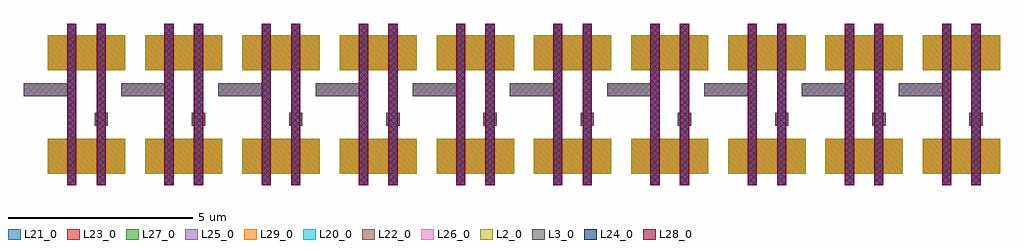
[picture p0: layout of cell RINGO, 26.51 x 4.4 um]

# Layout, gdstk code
import gdstk
lib = gdstk.Library(unit=1e-6, precision=1e-09)
def R(c, l, rs):  # rectangles x0, y0, x1, y1
    for r in rs: c.add(gdstk.rectangle(r[:2], r[2:], *l))
def P(c, l, *ps):  # polygons
    for p in ps: c.add(gdstk.Polygon(p, *l))
L2_0 = (2, 0)
L3_0 = (3, 0)
L10_0 = (10, 0)
L11_0 = (11, 0)
L12_0 = (12, 0)
L13_0 = (13, 0)
L14_0 = (14, 0)
L15_0 = (15, 0)
L16_0 = (16, 0)
L17_0 = (17, 0)
L18_0 = (18, 0)
L19_0 = (19, 0)
L20_0 = (20, 0)
L21_0 = (21, 0)
L22_0 = (22, 0)
L23_0 = (23, 0)
L24_0 = (24, 0)
L25_0 = (25, 0)
L26_0 = (26, 0)
L27_0 = (27, 0)
L28_0 = (28, 0)
L29_0 = (29, 0)

trans = lib.new_cell('TRANS')
R(trans, L2_0, [(-0.65,-0.475,0.65,0.475)])
R(trans, L3_0, [(-0.125,-0.8,0.125,0.8)])
R(trans, L20_0, [(-0.125,-0.8,0.125,0.8)])
R(trans, L21_0, [(-0.65,-0.475,0.65,0.475)])
R(trans, L22_0, [(-0.125,-0.8,0.125,0.8)])
R(trans, L23_0, [(-0.65,-0.475,0.65,0.475)])
R(trans, L24_0, [(-0.125,-0.8,0.125,0.8)])
R(trans, L25_0, [(-0.65,-0.475,0.65,0.475)])
R(trans, L26_0, [(-0.125,-0.8,0.125,0.8)])
R(trans, L27_0, [(-0.65,-0.475,0.65,0.475)])
R(trans, L28_0, [(-0.125,-0.8,0.125,0.8)])
R(trans, L29_0, [(-0.65,-0.475,0.65,0.475)])
trans.add(gdstk.FlexPath([(0.125,0.8),(0.125,-0.8)], 0, ends="flush", simple_path=True, layer=14, datatype=0))  # L14_0
trans.add(gdstk.FlexPath([(-0.125,-0.8),(-0.125,0.8)], 0, ends="flush", simple_path=True, layer=14, datatype=0))  # L14_0
trans.add(gdstk.FlexPath([(-0.65,0.475),(0.65,0.475)], 0, ends="flush", simple_path=True, layer=15, datatype=0))  # L15_0
trans.add(gdstk.FlexPath([(0.65,-0.475),(-0.65,-0.475)], 0, ends="flush", simple_path=True, layer=15, datatype=0))  # L15_0
trans.add(gdstk.FlexPath([(0.125,0.8),(0.125,-0.8)], 0, ends="flush", simple_path=True, layer=18, datatype=0))  # L18_0
trans.add(gdstk.FlexPath([(-0.125,-0.8),(-0.125,0.8)], 0, ends="flush", simple_path=True, layer=18, datatype=0))  # L18_0
trans.add(gdstk.FlexPath([(-0.65,0.475),(0.65,0.475)], 0, ends="flush", simple_path=True, layer=19, datatype=0))  # L19_0
trans.add(gdstk.FlexPath([(0.65,-0.475),(-0.65,-0.475)], 0, ends="flush", simple_path=True, layer=19, datatype=0))  # L19_0

inv2 = lib.new_cell('INV2')
R(inv2, L3_0, [(-0.525,-0.25,-0.275,2.25), (0.275,-0.25,0.525,2.25), (0.22,0.82,0.58,1.18), (-1.7,1.62,-0.4,1.98)])
P(inv2, L20_0, [(0.275,-0.8),(0.275,0.82),(0.22,0.82),(0.22,1.18),(0.275,1.18),(0.275,2),(0.525,2),(0.525,1.18),(0.58,1.18),(0.58,0.82),(0.525,0.82),(0.525,-0.8)],
  [(0.275,0.8),(0.275,0.82),(0.22,0.82),(0.22,1.18),(0.275,1.18),(0.275,3.6),(0.525,3.6),(0.525,1.18),(0.58,1.18),(0.58,0.82),(0.525,0.82),(0.525,0.8)],
  [(-0.525,0.8),(-0.525,1.62),(-1.7,1.62),(-1.7,1.98),(-0.525,1.98),(-0.525,3.6),(-0.275,3.6),(-0.275,0.8)],
  [(-0.525,-0.8),(-0.525,1.62),(-1.7,1.62),(-1.7,1.98),(-0.525,1.98),(-0.525,2),(-0.275,2),(-0.275,-0.8)])
R(inv2, L21_0, [(-1.05,-0.475,1.05,0.475), (-1.05,-0.475,-0.25,0.475), (0.25,-0.475,1.05,0.475), (-1.05,2.325,-0.25,3.275), (0.25,2.325,1.05,3.275)])
P(inv2, L22_0, [(-0.525,0.8),(-0.525,1.62),(-1.7,1.62),(-1.7,1.98),(-0.525,1.98),(-0.525,3.6),(-0.275,3.6),(-0.275,0.8)],
  [(-0.525,-0.8),(-0.525,1.62),(-1.7,1.62),(-1.7,1.98),(-0.525,1.98),(-0.525,2),(-0.275,2),(-0.275,-0.8)],
  [(0.275,-0.8),(0.275,0.82),(0.22,0.82),(0.22,1.18),(0.275,1.18),(0.275,2),(0.525,2),(0.525,1.18),(0.58,1.18),(0.58,0.82),(0.525,0.82),(0.525,-0.8)],
  [(0.275,0.8),(0.275,0.82),(0.22,0.82),(0.22,1.18),(0.275,1.18),(0.275,3.6),(0.525,3.6),(0.525,1.18),(0.58,1.18),(0.58,0.82),(0.525,0.82),(0.525,0.8)])
R(inv2, L23_0, [(-1.05,-0.475,1.05,0.475), (-1.05,-0.475,-0.25,0.475), (0.25,-0.475,1.05,0.475), (-1.05,2.325,-0.25,3.275), (0.25,2.325,1.05,3.275)])
R(inv2, L24_0, [(-0.525,0.8,-0.275,2.25), (0.275,0.8,0.525,2.25)])
R(inv2, L25_0, [(-1.05,-0.475,0.25,0.475), (-0.25,-0.475,1.05,0.475)])
P(inv2, L26_0, [(0.275,-0.8),(0.275,0.82),(0.22,0.82),(0.22,1.18),(0.275,1.18),(0.275,2),(0.525,2),(0.525,1.18),(0.58,1.18),(0.58,0.82),(0.525,0.82),(0.525,-0.8)],
  [(0.275,0.8),(0.275,0.82),(0.22,0.82),(0.22,1.18),(0.275,1.18),(0.275,3.6),(0.525,3.6),(0.525,1.18),(0.58,1.18),(0.58,0.82),(0.525,0.82),(0.525,0.8)],
  [(-0.525,0.8),(-0.525,1.62),(-1.7,1.62),(-1.7,1.98),(-0.525,1.98),(-0.525,3.6),(-0.275,3.6),(-0.275,0.8)],
  [(-0.525,-0.8),(-0.525,1.62),(-1.7,1.62),(-1.7,1.98),(-0.525,1.98),(-0.525,2),(-0.275,2),(-0.275,-0.8)])
R(inv2, L27_0, [(-1.05,-0.475,1.05,0.475), (-1.05,-0.475,-0.25,0.475), (0.25,-0.475,1.05,0.475), (-1.05,2.325,-0.25,3.275), (0.25,2.325,1.05,3.275)])
R(inv2, L28_0, [(-0.525,0.8,-0.275,2.25), (0.275,0.8,0.525,2.25)])
R(inv2, L29_0, [(-1.05,-0.475,0.25,0.475), (-0.25,-0.475,1.05,0.475)])
inv2.add(gdstk.FlexPath([(-0.525,-0.8),(-0.525,1.62)], 0, ends="flush", simple_path=True, layer=10, datatype=0))  # L10_0
inv2.add(gdstk.FlexPath([(0.525,3.6),(0.525,1.18)], 0, ends="flush", simple_path=True, layer=10, datatype=0))  # L10_0
inv2.add(gdstk.FlexPath([(0.275,-0.8),(0.275,0.82)], 0, ends="flush", simple_path=True, layer=10, datatype=0))  # L10_0
inv2.add(gdstk.FlexPath([(-0.525,1.98),(-0.525,3.6)], 0, ends="flush", simple_path=True, layer=10, datatype=0))  # L10_0
inv2.add(gdstk.FlexPath([(0.525,0.82),(0.525,-0.8)], 0, ends="flush", simple_path=True, layer=10, datatype=0))  # L10_0
inv2.add(gdstk.FlexPath([(0.275,1.18),(0.275,3.6)], 0, ends="flush", simple_path=True, layer=10, datatype=0))  # L10_0
inv2.add(gdstk.FlexPath([(-0.275,3.6),(-0.275,-0.8)], 0, ends="flush", simple_path=True, layer=10, datatype=0))  # L10_0
inv2.add(gdstk.FlexPath([(1.05,-0.475),(-1.05,-0.475)], 0, ends="flush", simple_path=True, layer=11, datatype=0))  # L11_0
inv2.add(gdstk.FlexPath([(-1.05,0.475),(1.05,0.475)], 0, ends="flush", simple_path=True, layer=11, datatype=0))  # L11_0
inv2.add(gdstk.FlexPath([(1.05,2.325),(-1.05,2.325)], 0, ends="flush", simple_path=True, layer=11, datatype=0))  # L11_0
inv2.add(gdstk.FlexPath([(-1.05,3.275),(1.05,3.275)], 0, ends="flush", simple_path=True, layer=11, datatype=0))  # L11_0
inv2.add(gdstk.FlexPath([(-0.525,-0.8),(-0.525,1.62)], 0, ends="flush", simple_path=True, layer=12, datatype=0))  # L12_0
inv2.add(gdstk.FlexPath([(0.525,3.6),(0.525,1.18)], 0, ends="flush", simple_path=True, layer=12, datatype=0))  # L12_0
inv2.add(gdstk.FlexPath([(0.275,-0.8),(0.275,0.82)], 0, ends="flush", simple_path=True, layer=12, datatype=0))  # L12_0
inv2.add(gdstk.FlexPath([(-0.525,1.98),(-0.525,3.6)], 0, ends="flush", simple_path=True, layer=12, datatype=0))  # L12_0
inv2.add(gdstk.FlexPath([(0.525,0.82),(0.525,-0.8)], 0, ends="flush", simple_path=True, layer=12, datatype=0))  # L12_0
inv2.add(gdstk.FlexPath([(0.275,1.18),(0.275,3.6)], 0, ends="flush", simple_path=True, layer=12, datatype=0))  # L12_0
inv2.add(gdstk.FlexPath([(-0.275,3.6),(-0.275,-0.8)], 0, ends="flush", simple_path=True, layer=12, datatype=0))  # L12_0
inv2.add(gdstk.FlexPath([(1.05,-0.475),(-1.05,-0.475)], 0, ends="flush", simple_path=True, layer=13, datatype=0))  # L13_0
inv2.add(gdstk.FlexPath([(-1.05,0.475),(1.05,0.475)], 0, ends="flush", simple_path=True, layer=13, datatype=0))  # L13_0
inv2.add(gdstk.FlexPath([(1.05,2.325),(-1.05,2.325)], 0, ends="flush", simple_path=True, layer=13, datatype=0))  # L13_0
inv2.add(gdstk.FlexPath([(-1.05,3.275),(1.05,3.275)], 0, ends="flush", simple_path=True, layer=13, datatype=0))  # L13_0
inv2.add(gdstk.FlexPath([(-0.275,2.25),(-0.275,-0.25)], 0, ends="flush", simple_path=True, layer=14, datatype=0))  # L14_0
inv2.add(gdstk.FlexPath([(-0.525,-0.25),(-0.525,2.25)], 0, ends="flush", simple_path=True, layer=14, datatype=0))  # L14_0
inv2.add(gdstk.FlexPath([(0.525,2.25),(0.525,-0.25)], 0, ends="flush", simple_path=True, layer=14, datatype=0))  # L14_0
inv2.add(gdstk.FlexPath([(0.275,-0.25),(0.275,2.25)], 0, ends="flush", simple_path=True, layer=14, datatype=0))  # L14_0
inv2.add(gdstk.FlexPath([(-0.25,0.475),(1.05,0.475)], 0, ends="flush", simple_path=True, layer=15, datatype=0))  # L15_0
inv2.add(gdstk.FlexPath([(-1.05,0.475),(0.25,0.475)], 0, ends="flush", simple_path=True, layer=15, datatype=0))  # L15_0
inv2.add(gdstk.FlexPath([(-0.525,-0.8),(-0.525,1.62)], 0, ends="flush", simple_path=True, layer=16, datatype=0))  # L16_0
inv2.add(gdstk.FlexPath([(0.525,3.6),(0.525,1.18)], 0, ends="flush", simple_path=True, layer=16, datatype=0))  # L16_0
inv2.add(gdstk.FlexPath([(0.275,-0.8),(0.275,0.82)], 0, ends="flush", simple_path=True, layer=16, datatype=0))  # L16_0
inv2.add(gdstk.FlexPath([(-0.525,1.98),(-0.525,3.6)], 0, ends="flush", simple_path=True, layer=16, datatype=0))  # L16_0
inv2.add(gdstk.FlexPath([(0.525,0.82),(0.525,-0.8)], 0, ends="flush", simple_path=True, layer=16, datatype=0))  # L16_0
inv2.add(gdstk.FlexPath([(0.275,1.18),(0.275,3.6)], 0, ends="flush", simple_path=True, layer=16, datatype=0))  # L16_0
inv2.add(gdstk.FlexPath([(-0.275,3.6),(-0.275,-0.8)], 0, ends="flush", simple_path=True, layer=16, datatype=0))  # L16_0
inv2.add(gdstk.FlexPath([(1.05,-0.475),(-1.05,-0.475)], 0, ends="flush", simple_path=True, layer=17, datatype=0))  # L17_0
inv2.add(gdstk.FlexPath([(-1.05,0.475),(1.05,0.475)], 0, ends="flush", simple_path=True, layer=17, datatype=0))  # L17_0
inv2.add(gdstk.FlexPath([(1.05,2.325),(-1.05,2.325)], 0, ends="flush", simple_path=True, layer=17, datatype=0))  # L17_0
inv2.add(gdstk.FlexPath([(-1.05,3.275),(1.05,3.275)], 0, ends="flush", simple_path=True, layer=17, datatype=0))  # L17_0
inv2.add(gdstk.FlexPath([(-0.275,2.25),(-0.275,-0.25)], 0, ends="flush", simple_path=True, layer=18, datatype=0))  # L18_0
inv2.add(gdstk.FlexPath([(-0.525,-0.25),(-0.525,2.25)], 0, ends="flush", simple_path=True, layer=18, datatype=0))  # L18_0
inv2.add(gdstk.FlexPath([(0.525,2.25),(0.525,-0.25)], 0, ends="flush", simple_path=True, layer=18, datatype=0))  # L18_0
inv2.add(gdstk.FlexPath([(0.275,-0.25),(0.275,2.25)], 0, ends="flush", simple_path=True, layer=18, datatype=0))  # L18_0
inv2.add(gdstk.FlexPath([(-1.05,0.475),(0.25,0.475)], 0, ends="flush", simple_path=True, layer=19, datatype=0))  # L19_0
inv2.add(gdstk.FlexPath([(-0.25,0.475),(1.05,0.475)], 0, ends="flush", simple_path=True, layer=19, datatype=0))  # L19_0
inv2.add(gdstk.Reference(trans, (-0.4,0)))
inv2.add(gdstk.Reference(trans, (-0.4,2.8)))
inv2.add(gdstk.Reference(trans, (0.4,0), x_reflection=True))
inv2.add(gdstk.Reference(trans, (0.4,2.8), x_reflection=True))

ringo = lib.new_cell('RINGO')
ringo.add(gdstk.Reference(inv2, (0,0)))
ringo.add(gdstk.Reference(inv2, (2.64,0)))
ringo.add(gdstk.Reference(inv2, (5.28,0)))
ringo.add(gdstk.Reference(inv2, (7.92,0)))
ringo.add(gdstk.Reference(inv2, (10.56,0)))
ringo.add(gdstk.Reference(inv2, (13.2,0)))
ringo.add(gdstk.Reference(inv2, (15.84,0)))
ringo.add(gdstk.Reference(inv2, (18.48,0)))
ringo.add(gdstk.Reference(inv2, (21.12,0)))
ringo.add(gdstk.Reference(inv2, (23.76,0)))

lib.write_gds('RINGO.gds')
